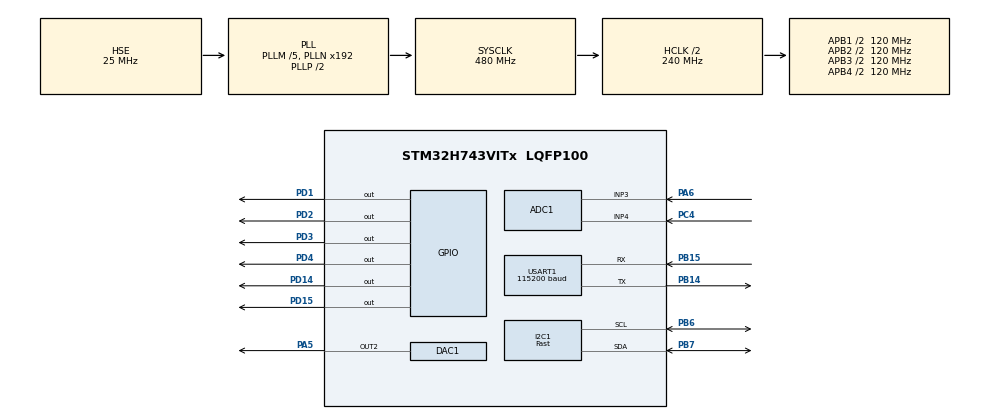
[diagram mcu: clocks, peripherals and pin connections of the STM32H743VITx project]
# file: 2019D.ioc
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ADC1.Channel-0\#ChannelRegularConversion=ADC_CHANNEL_3
ADC1.Channel-1\#ChannelRegularConversion=ADC_CHANNEL_4
ADC1.ContinuousConvMode=ENABLE
ADC1.ConversionDataManagement=ADC_CONVERSIONDATA_DMA_CIRCULAR
ADC1.DiscontinuousConvMode=DISABLE
ADC1.EnableInjectedConversion=DISABLE
ADC1.ExternalTrigConv=ADC_EXTERNALTRIG_T15_TRGO
ADC1.Mode=ADC_MODE_INDEPENDENT
ADC1.NbrOfConversion=2
ADC1.NbrOfConversionFlag=1
ADC1.OffsetNumber-0\#ChannelRegularConversion=ADC_OFFSET_NONE
ADC1.OffsetNumber-1\#ChannelRegularConversion=ADC_OFFSET_NONE
ADC1.OffsetSignedSaturation-0\#ChannelRegularConversion=DISABLE
ADC1.OffsetSignedSaturation-1\#ChannelRegularConversion=DISABLE
ADC1.OversamplingMode=DISABLE
ADC1.Rank-0\#ChannelRegularConversion=1
ADC1.Rank-1\#ChannelRegularConversion=2
ADC1.SamplingTime-0\#ChannelRegularConversion=ADC_SAMPLETIME_16CYCLES_5
ADC1.SamplingTime-1\#ChannelRegularConversion=ADC_SAMPLETIME_64CYCLES_5
ADC1.master=1
CORTEX_M7.AccessPermission-Cortex_Memory_Protection_Unit_Region0_Settings=MPU_REGION_FULL_ACCESS
CORTEX_M7.AccessPermission-Cortex_Memory_Protection_Unit_Region1_Settings=MPU_REGION_FULL_ACCESS
CORTEX_M7.AccessPermission-Cortex_Memory_Protection_Unit_Region2_Settings=MPU_REGION_FULL_ACCESS
CORTEX_M7.AccessPermission-Cortex_Memory_Protection_Unit_Region3_Settings=MPU_REGION_FULL_ACCESS
CORTEX_M7.AccessPermission-Cortex_Memory_Protection_Unit_Region4_Settings=MPU_REGION_FULL_ACCESS
CORTEX_M7.AccessPermission_S-Cortex_Memory_Protection_Unit_Region1_Settings_S=MPU_REGION_FULL_ACCESS
CORTEX_M7.AccessPermission_S-Cortex_Memory_Protection_Unit_Region2_Settings_S=MPU_REGION_FULL_ACCESS
CORTEX_M7.AccessPermission_Spec=MPU_REGION_FULL_ACCESS
CORTEX_M7.BaseAddress-Cortex_Memory_Protection_Unit_Region0_Settings=0x24000000
CORTEX_M7.BaseAddress-Cortex_Memory_Protection_Unit_Region1_Settings=0x30000000
CORTEX_M7.BaseAddress-Cortex_Memory_Protection_Unit_Region2_Settings=0x30020000
CORTEX_M7.BaseAddress-Cortex_Memory_Protection_Unit_Region3_Settings=0x30040000
CORTEX_M7.BaseAddress-Cortex_Memory_Protection_Unit_Region4_Settings=0x38000000
CORTEX_M7.BaseAddress_S-Cortex_Memory_Protection_Unit_Region1_Settings_S=0x30000000
CORTEX_M7.BaseAddress_S-Cortex_Memory_Protection_Unit_Region2_Settings_S=0x30020000
CORTEX_M7.BaseAddress_Spec=0x24000000
CORTEX_M7.CPU_DCache=Enabled
CORTEX_M7.CPU_ICache=Enabled
CORTEX_M7.DisableExec_S-Cortex_Memory_Protection_Unit_Region1_Settings_S=MPU_INSTRUCTION_ACCESS_ENABLE
CORTEX_M7.DisableExec_S-Cortex_Memory_Protection_Unit_Region2_Settings_S=MPU_INSTRUCTION_ACCESS_ENABLE
CORTEX_M7.DisableExec_Spec=MPU_INSTRUCTION_ACCESS_ENABLE
CORTEX_M7.Enable-Cortex_Memory_Protection_Unit_Region0_Settings=MPU_REGION_ENABLE
CORTEX_M7.Enable-Cortex_Memory_Protection_Unit_Region1_Settings=MPU_REGION_ENABLE
CORTEX_M7.Enable-Cortex_Memory_Protection_Unit_Region2_Settings=MPU_REGION_ENABLE
CORTEX_M7.Enable-Cortex_Memory_Protection_Unit_Region3_Settings=MPU_REGION_ENABLE
CORTEX_M7.Enable-Cortex_Memory_Protection_Unit_Region4_Settings=MPU_REGION_ENABLE
CORTEX_M7.Enable_S-Cortex_Memory_Protection_Unit_Region1_Settings_S=MPU_REGION_ENABLE
CORTEX_M7.Enable_S-Cortex_Memory_Protection_Unit_Region2_Settings_S=MPU_REGION_ENABLE
CORTEX_M7.IsBufferable-Cortex_Memory_Protection_Unit_Region0_Settings=MPU_ACCESS_BUFFERABLE
CORTEX_M7.IsBufferable_S-Cortex_Memory_Protection_Unit_Region1_Settings_S=MPU_ACCESS_NOT_BUFFERABLE
CORTEX_M7.IsBufferable_Spec=MPU_ACCESS_BUFFERABLE
CORTEX_M7.IsCacheable-Cortex_Memory_Protection_Unit_Region0_Settings=MPU_ACCESS_CACHEABLE
CORTEX_M7.IsCacheable_S-Cortex_Memory_Protection_Unit_Region1_Settings_S=MPU_ACCESS_NOT_CACHEABLE
CORTEX_M7.IsCacheable_Spec=MPU_ACCESS_CACHEABLE
CORTEX_M7.IsShareable_Spec=MPU_ACCESS_NOT_SHAREABLE
CORTEX_M7.MPU_Control=MPU_PRIVILEGED_DEFAULT
CORTEX_M7.Size-Cortex_Memory_Protection_Unit_Region0_Settings=MPU_REGION_SIZE_512KB
CORTEX_M7.Size-Cortex_Memory_Protection_Unit_Region1_Settings=MPU_REGION_SIZE_128KB
CORTEX_M7.Size-Cortex_Memory_Protection_Unit_Region2_Settings=MPU_REGION_SIZE_128KB
CORTEX_M7.Size-Cortex_Memory_Protection_Unit_Region3_Settings=MPU_REGION_SIZE_32KB
CORTEX_M7.Size-Cortex_Memory_Protection_Unit_Region4_Settings=MPU_REGION_SIZE_64KB
CORTEX_M7.Size_S-Cortex_Memory_Protection_Unit_Region1_Settings_S=MPU_REGION_SIZE_128KB
CORTEX_M7.Size_S-Cortex_Memory_Protection_Unit_Region2_Settings_S=MPU_REGION_SIZE_128KB
CORTEX_M7.Size_Spec=MPU_REGION_SIZE_512KB
CORTEX_M7.SubRegionDisable_Spec=0x0
CORTEX_M7.TypeExtField-Cortex_Memory_Protection_Unit_Region0_Settings=MPU_TEX_LEVEL1
CORTEX_M7.TypeExtField-Cortex_Memory_Protection_Unit_Region1_Settings=MPU_TEX_LEVEL1
CORTEX_M7.TypeExtField-Cortex_Memory_Protection_Unit_Region2_Settings=MPU_TEX_LEVEL1
CORTEX_M7.TypeExtField-Cortex_Memory_Protection_Unit_Region3_Settings=MPU_TEX_LEVEL1
CORTEX_M7.TypeExtField-Cortex_Memory_Protection_Unit_Region4_Settings=MPU_TEX_LEVEL1
CORTEX_M7.TypeExtField_S-Cortex_Memory_Protection_Unit_Region1_Settings_S=MPU_TEX_LEVEL1
CORTEX_M7.TypeExtField_S-Cortex_Memory_Protection_Unit_Region2_Settings_S=MPU_TEX_LEVEL1
CORTEX_M7.TypeExtField_Spec=MPU_TEX_LEVEL1
DAC1.DAC2_OutputBuffer-DAC_OUT2=DAC_OUTPUTBUFFER_DISABLE
DAC1.DAC_Channel-DAC_OUT2=DAC_CHANNEL_2
DAC1.DAC_Trigger-DAC_OUT2=DAC_TRIGGER_SOFTWARE
Dma.ADC1.1.Direction=DMA_PERIPH_TO_MEMORY
Dma.ADC1.1.EventEnable=DISABLE
Dma.ADC1.1.FIFOMode=DMA_FIFOMODE_DISABLE
Dma.ADC1.1.Instance=DMA1_Stream0
Dma.ADC1.1.MemDataAlignment=DMA_MDATAALIGN_HALFWORD
Dma.ADC1.1.MemInc=DMA_MINC_ENABLE
Dma.ADC1.1.Mode=DMA_NORMAL
Dma.ADC1.1.PeriphDataAlignment=DMA_PDATAALIGN_HALFWORD
Dma.ADC1.1.PeriphInc=DMA_PINC_DISABLE
Dma.ADC1.1.Polarity=HAL_DMAMUX_REQ_GEN_RISING
Dma.ADC1.1.Priority=DMA_PRIORITY_LOW
Dma.ADC1.1.RequestNumber=1
Dma.ADC1.1.SignalID=NONE
Dma.ADC1.1.SyncEnable=DISABLE
Dma.ADC1.1.SyncPolarity=HAL_DMAMUX_SYNC_NO_EVENT
Dma.ADC1.1.SyncRequestNumber=1
Dma.ADC1.1.SyncSignalID=NONE
Dma.DAC1_CH2.0.Direction=DMA_MEMORY_TO_PERIPH
Dma.DAC1_CH2.0.EventEnable=DISABLE
Dma.DAC1_CH2.0.FIFOMode=DMA_FIFOMODE_DISABLE
Dma.DAC1_CH2.0.Instance=DMA1_Stream1
Dma.DAC1_CH2.0.MemDataAlignment=DMA_MDATAALIGN_HALFWORD
Dma.DAC1_CH2.0.MemInc=DMA_MINC_ENABLE
Dma.DAC1_CH2.0.Mode=DMA_CIRCULAR
Dma.DAC1_CH2.0.PeriphDataAlignment=DMA_PDATAALIGN_HALFWORD
Dma.DAC1_CH2.0.PeriphInc=DMA_PINC_DISABLE
Dma.DAC1_CH2.0.Polarity=HAL_DMAMUX_REQ_GEN_RISING
Dma.DAC1_CH2.0.Priority=DMA_PRIORITY_LOW
Dma.DAC1_CH2.0.RequestNumber=1
Dma.DAC1_CH2.0.SignalID=NONE
Dma.DAC1_CH2.0.SyncEnable=DISABLE
Dma.DAC1_CH2.0.SyncPolarity=HAL_DMAMUX_SYNC_NO_EVENT
Dma.DAC1_CH2.0.SyncRequestNumber=1
Dma.DAC1_CH2.0.SyncSignalID=NONE
Dma.Request0=DAC1_CH2
Dma.Request1=ADC1
I2C1.I2C_Speed_Mode=I2C_Fast
I2C1.Timing=0x00B03FDB
Mcu.Family=STM32H7
Mcu.Name=STM32H743VITx
Mcu.Package=LQFP100
NVIC.DMA1_Stream0_IRQn=true\:0\:0\:false\:false\:true\:false\:true\:true
NVIC.DMA1_Stream1_IRQn=true\:0\:0\:false\:false\:true\:false\:true\:true
NVIC.PriorityGroup=NVIC_PRIORITYGROUP_4
NVIC.USART1_IRQn=true\:0\:0\:false\:false\:true\:true\:true\:true
PA13\ (JTMS/SWDIO).Mode=Serial_Wire
PA13\ (JTMS/SWDIO).Signal=DEBUG_JTMS-SWDIO
PA14\ (JTCK/SWCLK).Mode=Serial_Wire
PA14\ (JTCK/SWCLK).Signal=DEBUG_JTCK-SWCLK
PA5.Signal=COMP_DAC12_group
PA6.GPIO_Mode=GPIO_MODE_ANALOG
PA6.GPIO_PuPd=GPIO_NOPULL
PA6.Signal=ADCx_INP3
PB14.Mode=Asynchronous
PB14.Signal=USART1_TX
PB15.Mode=Asynchronous
PB15.Signal=USART1_RX
PB6.Mode=I2C
PB6.Signal=I2C1_SCL
PB7.Mode=I2C
PB7.Signal=I2C1_SDA
PC4.Signal=ADCx_INP4
PD1.GPIO_Speed=GPIO_SPEED_FREQ_HIGH
PD1.PinState=GPIO_PIN_RESET
PD1.Signal=GPIO_Output
PD14.Signal=GPIO_Output
PD15.Signal=GPIO_Output
PD2.GPIO_Speed=GPIO_SPEED_FREQ_HIGH
PD2.PinState=GPIO_PIN_RESET
PD2.Signal=GPIO_Output
PD3.GPIO_Speed=GPIO_SPEED_FREQ_HIGH
PD3.PinState=GPIO_PIN_RESET
PD3.Signal=GPIO_Output
PD4.GPIO_Speed=GPIO_SPEED_FREQ_HIGH
PD4.PinState=GPIO_PIN_RESET
PD4.Signal=GPIO_Output
PH0-OSC_IN\ (PH0).Mode=HSE-External-Oscillator
PH0-OSC_IN\ (PH0).Signal=RCC_OSC_IN
PH1-OSC_OUT\ (PH1).Mode=HSE-External-Oscillator
PH1-OSC_OUT\ (PH1).Signal=RCC_OSC_OUT
ProjectManager.HeapSize=0x3000
ProjectManager.StackSize=0x1000
ProjectManager.TargetToolchain=STM32CubeIDE
RCC.ADCFreq_Value=1200000
RCC.APB1Freq_Value=120000000
RCC.APB2Freq_Value=120000000
RCC.APB3Freq_Value=120000000
RCC.APB4Freq_Value=120000000
RCC.CortexFreq_Value=480000000
RCC.D1PPRE=RCC_APB3_DIV2
RCC.D2PPRE1=RCC_APB1_DIV2
RCC.D2PPRE2=RCC_APB2_DIV2
RCC.D3PPRE=RCC_APB4_DIV2
RCC.DIVM1=5
RCC.DIVM2=25
RCC.DIVN1=192
RCC.DIVN2=150
RCC.DIVN3=128
RCC.DIVP2=125
RCC.HCLKFreq_Value=240000000
RCC.HPRE=RCC_HCLK_DIV2
RCC.HSE_Timout=5000
RCC.PLLSourceVirtual=RCC_PLLSOURCE_HSE
RCC.ProductRev=revV
RCC.SYSCLKFreq_VALUE=480000000
RCC.SYSCLKSource=RCC_SYSCLKSOURCE_PLLCLK
RCC.USBFreq_Value=480000000
SH.ADCx_INP3.0=ADC1_INP3,IN3-Single-Ended
SH.ADCx_INP4.0=ADC1_INP4,IN4-Single-Ended
SH.COMP_DAC12_group.0=DAC1_OUT2,DAC_OUT2
TIM15.AutoReloadPreload=TIM_AUTORELOAD_PRELOAD_ENABLE
TIM15.ClockDivision=TIM_CLOCKDIVISION_DIV1
TIM15.Period=501-1
TIM15.Prescaler=51- 1
TIM15.TIM_MasterOutputTrigger=TIM_TRGO_UPDATE
TIM7.Prescaler=239
USART1.BaudRate=115200
USART1.VirtualMode-Asynchronous=VM_ASYNC
VP_TIM15_VS_ClockSourceINT.Mode=Internal
VP_TIM7_VS_ClockSourceINT.Mode=Enable_Timer
board=custom

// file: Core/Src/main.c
/* USER CODE BEGIN Header */
/**
  ******************************************************************************
  * @file           : main.c
  * @brief          : Main program body
  ******************************************************************************
  * @attention
  *
  * Copyright (c) 2024 STMicroelectronics.
  * All rights reserved.
  *
  * This software is licensed under terms that can be found in the LICENSE file
  * in the root directory of this software component.
  * If no LICENSE file comes with this software, it is provided AS-IS.
  *
  ******************************************************************************
  */
/* USER CODE END Header */
#include "main.h"
#include "adc.h"
#include "dac.h"
#include "dma.h"
#include "i2c.h"
#include "tim.h"
#include "usart.h"
#include "gpio.h"

/* USER CODE BEGIN Includes */
#include <stdio.h>
#include <stdlib.h>
#include <complex.h>
#include <string.h>
#include "signal.h"
#include "oled.h"
#include "FO.h"
#include <string.h>
#include "stm32h7xx.h"
#include "ad9833.h"
#include "measure.h"
#include "screen.h"

/* USER CODE END Includes */

/* USER CODE BEGIN PTD */

ALIGN_32BYTES (uint16_t adc1_data[FO_LENGTH_LOW*2]) 	__attribute__((section(".ARM.__at_0x30000000")));
__IO uint8_t AdcConvEnd_1 = 0;

double v[FO_LENGTH_LOW*2 + 100];
double Pin[FO_LENGTH_LOW + 100];
double Pout[FO_LENGTH_LOW + 100];
double uin[FO_LENGTH_LOW + 100];
double uout[FO_LENGTH_LOW + 100];
double voltage = 0;
char str_2[50];
int max_index[2] = {0,0};
double max[2] = {-1 , -1};
double s1;
double *s = &s1;
double *p = Pin;
double *X;
int flag = 0;

char c ;

double Us,Ui,Uo1,Uo2,Us_DC,Ui_DC,Uo1_DC,Uo2_DC;
double Rin , Rout , Av , wave[250];

void adc_init(void)
{
//	HAL_UART_Transmit(&huart1,(uint8_t *)"start_adc\n",sizeof("start_adc\n"),HAL_MAX_DELAY);
	MX_ADC1_Init();
	HAL_Delay(1);
	if (HAL_ADCEx_Calibration_Start(&hadc1, ADC_CALIB_OFFSET, ADC_SINGLE_ENDED) != HAL_OK)
	{
		HAL_UART_Transmit(&huart1,(uint8_t *)"hadc1 error with HAL_ADCEx_Calibration_Start\r\n",
				sizeof("hadc1 error with HAL_ADCEx_Calibration_Start\r\n"),HAL_MAX_DELAY);
			Error_Handler();
	}

	if (HAL_ADC_Start_DMA(&hadc1, (uint32_t *)adc1_data, FO_LENGTH_LOW*2) != HAL_OK)
	{
		HAL_UART_Transmit(&huart1,(uint8_t *)"hadc1 error with HAL_ADC_Start_DMA\r\n",
				sizeof("hadc1 error with HAL_ADC_Start_DMA\r\n"),HAL_MAX_DELAY);
			Error_Handler();
	}

	HAL_TIM_Base_Start(&htim15);
	while (!AdcConvEnd_1);
	AdcConvEnd_1 = 0;
	HAL_ADC_DeInit(&hadc1);
	HAL_TIM_Base_Stop(&htim15);
}

void Para_init(void)
{
	for (int i = 0 ; i < 2 ; i ++)
		  {
			  max[i] = 0;
			  max_index[i] = 0;

		  }
		  for ( int i = 0 ; i < FO_LENGTH_LOW ; i++)
		  {
			  Pin[i] = 0;
			  uin[i] = 0;
		  }
}

void ADC1_Get(void)
{

		adc_init();
		//v[0] =  ((double)adc1_data[0]*3.3)/65535 *3;
		  for (uint16_t temp = 0; temp< FO_LENGTH_LOW*2;temp++)
		  	    {
		  	    	  voltage = ((double)adc1_data[temp]*3.3)/65535 *3 ;
		  	    	  v[temp] = voltage;
		  	    	  if (temp%2==0){uin[temp/2] = voltage;}
		  	    	  else {uout[temp/2] = voltage;}
//		  	    	  sprintf(str_2 , "%.5f" , v[temp]);
//		  	    	  HAL_UART_Transmit(&huart1,(uint8_t *)str_2 , 7   ,HAL_MAX_DELAY);
//		  	    	  HAL_UART_Transmit(&huart1 ,(uint8_t *)"\n", 1 , HAL_MAX_DELAY);
		  	    }
		  for (uint16_t temp = 0; temp< FO_LENGTH_LOW;temp++)
		  		  		  	    {
		  		  		  	    	  sprintf(str_2 , "%.5f" , uin[temp]);
		  		  		  	    	  HAL_UART_Transmit(&huart1,(uint8_t *)str_2 , 7   ,HAL_MAX_DELAY);
		  		  		  	    	  HAL_UART_Transmit(&huart1 ,(uint8_t *)"\n", 1 , HAL_MAX_DELAY);
		  		  		  	    }
		  for (uint16_t temp = 0; temp< FO_LENGTH_LOW;temp++)
		  		  	    {
		  		  	    	  sprintf(str_2 , "%.5f" , uout[temp]);
		  		  	    	  HAL_UART_Transmit(&huart1,(uint8_t *)str_2 , 7   ,HAL_MAX_DELAY);
		  		  	    	  HAL_UART_Transmit(&huart1 ,(uint8_t *)"\n", 1 , HAL_MAX_DELAY);
		  		  	    }
		  //LowPassFilter(v);

}

void HandleFFT(void)
{
	s = FFT_ADC1(FO_LENGTH_LOW , uin ) ;
			  max_index[1] = (*s) * 106;
			  s1 = *s;
	for (int i = 0 ; i < 5 ; i ++)
	{
		if (flag == 1)
		{
			X= Blackman(FO_LENGTH_LOW ,(max_index[1]-max_index[1]/2),(max_index[1]+max_index[1]/2), uin);
		}
		else
		{
			X = uin;
		}

		p = FFT_Mag(FO_LENGTH_LOW , X);
		for (int j = 0 ; j  <FO_LENGTH_LOW ; j++)
		{
			Pin[j]+=p[j];
		}
	}

}

void PrintMag(void)
{
	 for (int i = 0 ; i < FO_LENGTH_LOW/2 ; i++)
	 {
//	 	sprintf(str_2 , "%.5lf" , (Pin[i]));
		if (max[0] < Pin[i] &&  i < 20 && i >=0 )
		{
		  	max_index[0] = i * 1 ;
		  	max[0] =Pin[i];

		}
		else if (i < 50 )
		{
		  	max_index[0] = max_index[0];
		  	max[0] = max[0];
		}
		if (max[1] < Pin[i] && i < (max_index[1]+20) &&  i >(max_index[1]-20) )
		{
		  	max_index[1] = i * 1 ;
		  	max[1] =Pin[i];

		}
//		HAL_UART_Transmit(&huart1,(uint8_t *)str_2 , 7   ,HAL_MAX_DELAY);
//		HAL_UART_Transmit(&huart1 ,(uint8_t *)"\n", 1 , HAL_MAX_DELAY);
	 }
	 sprintf(str_2 , "%.2f" , s1);
	 HAL_UART_Transmit(&huart1 ,(uint8_t *)"Frequency:", 10 , HAL_MAX_DELAY);
	 HAL_UART_Transmit(&huart1,(uint8_t *)str_2 , 7   ,HAL_MAX_DELAY);
	 HAL_UART_Transmit(&huart1 ,(uint8_t *)"kHz\n", 4 , HAL_MAX_DELAY);
	 sprintf(str_2 , "%.5f" , sqrt(max[0]) / s1  / 94.1 );
	 HAL_UART_Transmit(&huart1 ,(uint8_t *)"Uo0:", 4 , HAL_MAX_DELAY);
	 HAL_UART_Transmit(&huart1,(uint8_t *)str_2 , 7   ,HAL_MAX_DELAY);
	 HAL_UART_Transmit(&huart1 ,(uint8_t *)"V\n", 2 , HAL_MAX_DELAY);
	 sprintf(str_2 , "%.5f" , sqrt(max[1])/ s1 / 23.5 /sqrt(2) /  2);
	 HAL_UART_Transmit(&huart1 ,(uint8_t *)"Uo1:", 4 , HAL_MAX_DELAY);
	 HAL_UART_Transmit(&huart1,(uint8_t *)str_2 , 7   ,HAL_MAX_DELAY);
	 HAL_UART_Transmit(&huart1 ,(uint8_t *)"V\n", 2 , HAL_MAX_DELAY);

}

void ADC_FFT(void)
{
	flag = 1;
	Para_init();
	ADC1_Get();
	HandleFFT();
	PrintMag();
	//HAL_Delay(500);UART_Screen
}

/* USER CODE END PTD */

void SystemClock_Config(void);
static void MPU_Config(void);

int main(void)
{

  /* MPU Configuration--------------------------------------------------------*/
  MPU_Config();

  /* Enable I-Cache---------------------------------------------------------*/
  SCB_EnableICache();

  /* Enable D-Cache---------------------------------------------------------*/
  SCB_EnableDCache();

  /* MCU Configuration--------------------------------------------------------*/

  /* Reset of all peripherals, Initializes the Flash interface and the Systick. */
  HAL_Init();

  /* Configure the system clock */
  SystemClock_Config();

  /* Initialize all configured peripherals */
  MX_GPIO_Init();
  MX_DMA_Init();
  MX_I2C1_Init();
  MX_TIM15_Init();
  MX_DAC1_Init();
  MX_TIM7_Init();
  MX_USART1_UART_Init();
  MX_ADC1_Init();
  /* USER CODE BEGIN 2 */

  AD9833_WaveSetting(1000 , 0 , SIN_WAVE , 0 , 0);
  ADC1_Get();
  Get_Ui();
  //Ui = FastGet_Ui();
  //Ui = FastGet_Ui();
  //Ui = FastGet_Ui(); ADC1_Get();
//  ADC1_Get();
////  	  ADC1_Get();
//  	  Get_Us();
//  	  //Us = FastGet_Us();
//  	//Us = FastGet_Us();
//  	  ADC1_Get();
//  	Get_Uo2();
//  	ADC1_Get();
//  	Get_Uo1();
//  	//Us = FastGet_Us();
////  	  ADC1_Get();
////  	    	  ADC1_Get();
//  	  Rin = Get_Rin();
//  	  Rout = Get_Rout();
//  	  Av = Get_Av();
//  		  for (int i = 0 ; i <250 ; i++)
//  		  {
//  				 wave[i] = i *i*0.001;
//  		  }
//  	  Screen_Show(Rin , Rout ,Av ,wave );
  //ADC1_Get();
  //adc_init();
  /* USER CODE END 2 */

  /* Infinite loop */
  /* USER CODE BEGIN WHILE */
  while (1)
  {
	 sprintf(str_2 , "%.5f" , Rin);
		 HAL_UART_Transmit(&huart1 ,(uint8_t *)"Rin:", 4 , HAL_MAX_DELAY);
		 HAL_UART_Transmit(&huart1,(uint8_t *)str_2 , 7   ,HAL_MAX_DELAY);
		 HAL_UART_Transmit(&huart1 ,(uint8_t *)"\n", 2 , HAL_MAX_DELAY);
		 sprintf(str_2 , "%.5f" , Rout);
		 HAL_UART_Transmit(&huart1 ,(uint8_t *)"Rout:", 5 , HAL_MAX_DELAY);
		 HAL_UART_Transmit(&huart1,(uint8_t *)str_2 , 7   ,HAL_MAX_DELAY);
		 HAL_UART_Transmit(&huart1 ,(uint8_t *)"\n", 2 , HAL_MAX_DELAY);
		 sprintf(str_2 , "%.5f" , Av);
		 HAL_UART_Transmit(&huart1 ,(uint8_t *)"Av:", 3 , HAL_MAX_DELAY);
		 HAL_UART_Transmit(&huart1,(uint8_t *)str_2 , 7   ,HAL_MAX_DELAY);
		 HAL_UART_Transmit(&huart1 ,(uint8_t *)"\n", 2 , HAL_MAX_DELAY);

		 		 HAL_Delay(10000);
//		 		Screen_Show(Rin , Rout ,Av ,wave );
    /* USER CODE END WHILE */

  }
}

void SystemClock_Config(void)
{
  RCC_OscInitTypeDef RCC_OscInitStruct = {0};
  RCC_ClkInitTypeDef RCC_ClkInitStruct = {0};

  /** Supply configuration update enable
  */
  HAL_PWREx_ConfigSupply(PWR_LDO_SUPPLY);

  /** Configure the main internal regulator output voltage
  */
  __HAL_PWR_VOLTAGESCALING_CONFIG(PWR_REGULATOR_VOLTAGE_SCALE1);

  while(!__HAL_PWR_GET_FLAG(PWR_FLAG_VOSRDY)) {}

  __HAL_RCC_SYSCFG_CLK_ENABLE();
  __HAL_PWR_VOLTAGESCALING_CONFIG(PWR_REGULATOR_VOLTAGE_SCALE0);

  while(!__HAL_PWR_GET_FLAG(PWR_FLAG_VOSRDY)) {}

  /** Macro to configure the PLL clock source
  */
  __HAL_RCC_PLL_PLLSOURCE_CONFIG(RCC_PLLSOURCE_HSE);

  /** Initializes the RCC Oscillators according to the specified parameters
  * in the RCC_OscInitTypeDef structure.
  */
  RCC_OscInitStruct.OscillatorType = RCC_OSCILLATORTYPE_HSE;
  RCC_OscInitStruct.HSEState = RCC_HSE_ON;
  RCC_OscInitStruct.PLL.PLLState = RCC_PLL_ON;
  RCC_OscInitStruct.PLL.PLLSource = RCC_PLLSOURCE_HSE;
  RCC_OscInitStruct.PLL.PLLM = 5;
  RCC_OscInitStruct.PLL.PLLN = 192;
  RCC_OscInitStruct.PLL.PLLP = 2;
  RCC_OscInitStruct.PLL.PLLQ = 2;
  RCC_OscInitStruct.PLL.PLLR = 2;
  RCC_OscInitStruct.PLL.PLLRGE = RCC_PLL1VCIRANGE_2;
  RCC_OscInitStruct.PLL.PLLVCOSEL = RCC_PLL1VCOWIDE;
  RCC_OscInitStruct.PLL.PLLFRACN = 0;
  if (HAL_RCC_OscConfig(&RCC_OscInitStruct) != HAL_OK)
  {
    Error_Handler();
  }

  /** Initializes the CPU, AHB and APB buses clocks
  */
  RCC_ClkInitStruct.ClockType = RCC_CLOCKTYPE_HCLK|RCC_CLOCKTYPE_SYSCLK
                              |RCC_CLOCKTYPE_PCLK1|RCC_CLOCKTYPE_PCLK2
                              |RCC_CLOCKTYPE_D3PCLK1|RCC_CLOCKTYPE_D1PCLK1;
  RCC_ClkInitStruct.SYSCLKSource = RCC_SYSCLKSOURCE_PLLCLK;
  RCC_ClkInitStruct.SYSCLKDivider = RCC_SYSCLK_DIV1;
  RCC_ClkInitStruct.AHBCLKDivider = RCC_HCLK_DIV2;
  RCC_ClkInitStruct.APB3CLKDivider = RCC_APB3_DIV2;
  RCC_ClkInitStruct.APB1CLKDivider = RCC_APB1_DIV2;
  RCC_ClkInitStruct.APB2CLKDivider = RCC_APB2_DIV2;
  RCC_ClkInitStruct.APB4CLKDivider = RCC_APB4_DIV2;

  if (HAL_RCC_ClockConfig(&RCC_ClkInitStruct, FLASH_LATENCY_4) != HAL_OK)
  {
    Error_Handler();
  }
}

/* USER CODE BEGIN 4 */

void HAL_ADC_ConvCpltCallback(ADC_HandleTypeDef* hadc)
{
   if(hadc->Instance == ADC1)
	{
      //SCB_InvalidateDCache_by_Addr((uint32_t *) &adc1_data[0], ADC1_BUFFER_SIZE);
   }
	 AdcConvEnd_1 = 1;

}

void HAL_UART_RxCpltCallback(UART_HandleTypeDef *huart)
{
    if(huart->Instance==USART1)
    {
        if(c=='0')
        {
            USART1PutString("cle 8,0\xff\xff\xff");
        }
        if(c=='1')
        {
            fARelationship();
        }
     HAL_UART_Receive_IT(&huart1, (uint8_t*)&c,1);
    }
}

/* USER CODE END 4 */

/* MPU Configuration */

void MPU_Config(void)
{
  MPU_Region_InitTypeDef MPU_InitStruct = {0};

  /* Disables the MPU */
  HAL_MPU_Disable();

  /** Initializes and configures the Region and the memory to be protected
  */
  MPU_InitStruct.Enable = MPU_REGION_ENABLE;
  MPU_InitStruct.Number = MPU_REGION_NUMBER0;
  MPU_InitStruct.BaseAddress = 0x24000000;
  MPU_InitStruct.Size = MPU_REGION_SIZE_512KB;
  MPU_InitStruct.SubRegionDisable = 0x0;
  MPU_InitStruct.TypeExtField = MPU_TEX_LEVEL1;
  MPU_InitStruct.AccessPermission = MPU_REGION_FULL_ACCESS;
  MPU_InitStruct.DisableExec = MPU_INSTRUCTION_ACCESS_ENABLE;
  MPU_InitStruct.IsShareable = MPU_ACCESS_NOT_SHAREABLE;
  MPU_InitStruct.IsCacheable = MPU_ACCESS_CACHEABLE;
  MPU_InitStruct.IsBufferable = MPU_ACCESS_BUFFERABLE;

  HAL_MPU_ConfigRegion(&MPU_InitStruct);

  /** Initializes and configures the Region and the memory to be protected
  */
  MPU_InitStruct.Number = MPU_REGION_NUMBER1;
  MPU_InitStruct.BaseAddress = 0x30000000;
  MPU_InitStruct.Size = MPU_REGION_SIZE_128KB;
  MPU_InitStruct.IsCacheable = MPU_ACCESS_NOT_CACHEABLE;
  MPU_InitStruct.IsBufferable = MPU_ACCESS_NOT_BUFFERABLE;

  HAL_MPU_ConfigRegion(&MPU_InitStruct);

  /** Initializes and configures the Region and the memory to be protected
  */
  MPU_InitStruct.Number = MPU_REGION_NUMBER2;
  MPU_InitStruct.BaseAddress = 0x30020000;

  HAL_MPU_ConfigRegion(&MPU_InitStruct);

  /** Initializes and configures the Region and the memory to be protected
  */
  MPU_InitStruct.Number = MPU_REGION_NUMBER3;
  MPU_InitStruct.BaseAddress = 0x30040000;
  MPU_InitStruct.Size = MPU_REGION_SIZE_32KB;

  HAL_MPU_ConfigRegion(&MPU_InitStruct);

  /** Initializes and configures the Region and the memory to be protected
  */
  MPU_InitStruct.Number = MPU_REGION_NUMBER4;
  MPU_InitStruct.BaseAddress = 0x38000000;
  MPU_InitStruct.Size = MPU_REGION_SIZE_64KB;

  HAL_MPU_ConfigRegion(&MPU_InitStruct);
  /* Enables the MPU */
  HAL_MPU_Enable(MPU_PRIVILEGED_DEFAULT);

}

void Error_Handler(void)
{
  __disable_irq();
  while (1)
  {
  }
}
